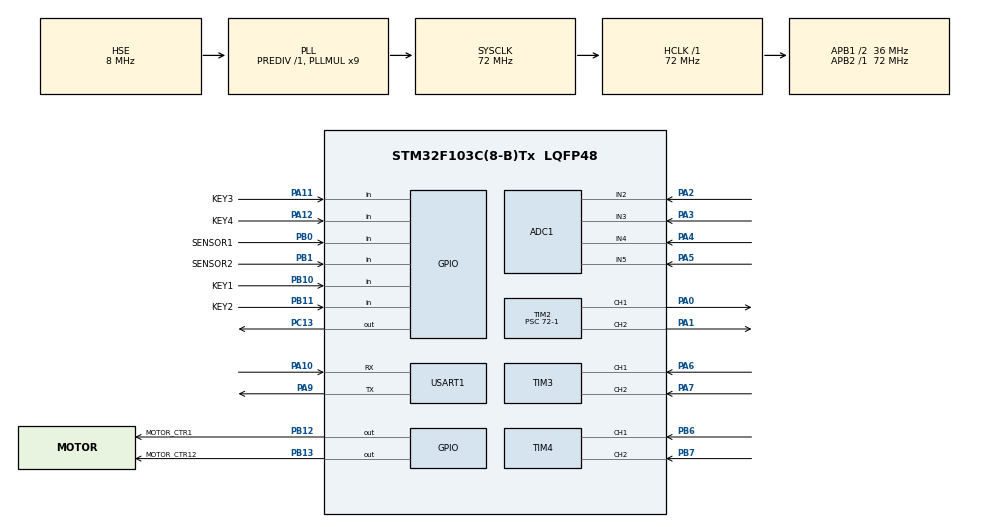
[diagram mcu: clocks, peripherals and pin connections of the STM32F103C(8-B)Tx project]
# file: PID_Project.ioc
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ADC1.Channel-0\#ChannelRegularConversion=ADC_CHANNEL_2
ADC1.Channel-1\#ChannelRegularConversion=ADC_CHANNEL_3
ADC1.Channel-2\#ChannelRegularConversion=ADC_CHANNEL_4
ADC1.Channel-3\#ChannelRegularConversion=ADC_CHANNEL_5
ADC1.ContinuousConvMode=DISABLE
ADC1.DiscontinuousConvMode=ENABLE
ADC1.NbrOfConversion=4
ADC1.NbrOfConversionFlag=1
ADC1.Rank-0\#ChannelRegularConversion=1
ADC1.Rank-1\#ChannelRegularConversion=2
ADC1.Rank-2\#ChannelRegularConversion=3
ADC1.Rank-3\#ChannelRegularConversion=4
ADC1.SamplingTime-0\#ChannelRegularConversion=ADC_SAMPLETIME_1CYCLE_5
ADC1.SamplingTime-1\#ChannelRegularConversion=ADC_SAMPLETIME_1CYCLE_5
ADC1.SamplingTime-2\#ChannelRegularConversion=ADC_SAMPLETIME_1CYCLE_5
ADC1.SamplingTime-3\#ChannelRegularConversion=ADC_SAMPLETIME_1CYCLE_5
ADC1.master=1
Mcu.Family=STM32F1
Mcu.Name=STM32F103C(8-B)Tx
Mcu.Package=LQFP48
NVIC.PriorityGroup=NVIC_PRIORITYGROUP_4
NVIC.TIM1_UP_IRQn=true\:0\:0\:false\:false\:true\:true\:true
NVIC.TIM2_IRQn=true\:0\:0\:false\:false\:true\:true\:true
PA0-WKUP.Signal=S_TIM2_CH1_ETR
PA1.Signal=S_TIM2_CH2
PA10.Mode=Asynchronous
PA10.Signal=USART1_RX
PA11.GPIO_Label=KEY3
PA11.GPIO_PuPd=GPIO_PULLUP
PA11.Signal=GPIO_Input
PA12.GPIO_Label=KEY4
PA12.GPIO_PuPd=GPIO_PULLUP
PA12.Signal=GPIO_Input
PA13.Mode=Serial_Wire
PA13.Signal=SYS_JTMS-SWDIO
PA14.Mode=Serial_Wire
PA14.Signal=SYS_JTCK-SWCLK
PA2.Signal=ADCx_IN2
PA3.Signal=ADCx_IN3
PA4.Signal=ADCx_IN4
PA5.Signal=ADCx_IN5
PA6.Signal=S_TIM3_CH1
PA7.Signal=S_TIM3_CH2
PA9.Mode=Asynchronous
PA9.Signal=USART1_TX
PB0.GPIO_Label=SENSOR1
PB0.GPIO_PuPd=GPIO_PULLUP
PB0.Signal=GPIO_Input
PB1.GPIO_Label=SENSOR2
PB1.GPIO_PuPd=GPIO_PULLUP
PB1.Signal=GPIO_Input
PB10.GPIO_Label=KEY1
PB10.GPIO_PuPd=GPIO_PULLUP
PB10.Signal=GPIO_Input
PB11.GPIO_Label=KEY2
PB11.GPIO_PuPd=GPIO_PULLUP
PB11.Signal=GPIO_Input
PB12.GPIO_Label=MOTOR_CTR1
PB12.GPIO_Speed=GPIO_SPEED_FREQ_HIGH
PB12.Signal=GPIO_Output
PB13.GPIO_Label=MOTOR_CTR12
PB13.GPIO_Speed=GPIO_SPEED_FREQ_HIGH
PB13.Signal=GPIO_Output
PB6.Signal=S_TIM4_CH1
PB7.Signal=S_TIM4_CH2
PC13-TAMPER-RTC.Signal=GPIO_Output
PC14-OSC32_IN.Mode=LSE-External-Oscillator
PC14-OSC32_IN.Signal=RCC_OSC32_IN
PC15-OSC32_OUT.Mode=LSE-External-Oscillator
PC15-OSC32_OUT.Signal=RCC_OSC32_OUT
PD0-OSC_IN.Mode=HSE-External-Oscillator
PD0-OSC_IN.Signal=RCC_OSC_IN
PD1-OSC_OUT.Mode=HSE-External-Oscillator
PD1-OSC_OUT.Signal=RCC_OSC_OUT
ProjectManager.HeapSize=0x200
ProjectManager.StackSize=0x400
ProjectManager.TargetToolchain=MDK-ARM V5.32
RCC.ADCPresc=RCC_ADCPCLK2_DIV6
RCC.AHBFreq_Value=72000000
RCC.APB1CLKDivider=RCC_HCLK_DIV2
RCC.APB1Freq_Value=36000000
RCC.APB1TimFreq_Value=72000000
RCC.APB2Freq_Value=72000000
RCC.APB2TimFreq_Value=72000000
RCC.HCLKFreq_Value=72000000
RCC.PLLMUL=RCC_PLL_MUL9
RCC.PLLSourceVirtual=RCC_PLLSOURCE_HSE
RCC.SYSCLKFreq_VALUE=72000000
RCC.SYSCLKSource=RCC_SYSCLKSOURCE_PLLCLK
RCC.USBFreq_Value=72000000
SH.ADCx_IN2.0=ADC1_IN2,IN2
SH.ADCx_IN3.0=ADC1_IN3,IN3
SH.ADCx_IN4.0=ADC1_IN4,IN4
SH.ADCx_IN5.0=ADC1_IN5,IN5
SH.S_TIM2_CH1_ETR.0=TIM2_CH1,PWM Generation1 CH1
SH.S_TIM2_CH2.0=TIM2_CH2,PWM Generation2 CH2
SH.S_TIM3_CH1.0=TIM3_CH1,Encoder_Interface
SH.S_TIM3_CH2.0=TIM3_CH2,Encoder_Interface
SH.S_TIM4_CH1.0=TIM4_CH1,Encoder_Interface
SH.S_TIM4_CH2.0=TIM4_CH2,Encoder_Interface
TIM2.Channel-PWM\ Generation1\ CH1=TIM_CHANNEL_1
TIM2.Channel-PWM\ Generation2\ CH2=TIM_CHANNEL_2
TIM2.Period=100-1
TIM2.Prescaler=72-1
USART1.VirtualMode=VM_ASYNC
VP_TIM1_VS_ClockSourceINT.Mode=Internal
VP_TIM2_VS_ClockSourceINT.Mode=Internal
board=custom

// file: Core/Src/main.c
/* USER CODE BEGIN Header */
/**
  ******************************************************************************
  * @file           : main.c
  * @brief          : Main program body
  ******************************************************************************
  * @attention
  *
  * Copyright (c) 2025 STMicroelectronics.
  * All rights reserved.
  *
  * This software is licensed under terms that can be found in the LICENSE file
  * in the root directory of this software component.
  * If no LICENSE file comes with this software, it is provided AS-IS.
  *
  ******************************************************************************
  */
/* USER CODE END Header */
#include "main.h"
#include "adc.h"
#include "tim.h"
#include "usart.h"
#include "gpio.h"

/* USER CODE BEGIN Includes */
#include "OLED.h"
#include "my_key.h"
#include "motor.h"
/* USER CODE END Includes */

/* USER CODE BEGIN PM */

/*定义PID相关变量*/

/* USER CODE END PM */

void SystemClock_Config(void);

/* USER CODE BEGIN 0 */
void my_oled_test(void)
{
	/*在(0, 0)位置显示字符'A'，字体大小为8*16点阵*/
	OLED_ShowChar(0, 0, 'A', OLED_8X16);
	/*在(16, 0)位置显示字符串"Hello World!"，字体大小为8*16点阵*/
	OLED_ShowString(16, 0, "Hello World!", OLED_8X16);
	/*在(0, 18)位置显示字符'A'，字体大小为6*8点阵*/
	OLED_ShowChar(0, 18, 'A', OLED_6X8);
	/*在(16, 18)位置显示字符串"Hello World!"，字体大小为6*8点阵*/
	OLED_ShowString(16, 18, "Hello World!", OLED_6X8);
	/*在(0, 28)位置显示数字12345，长度为5，字体大小为6*8点阵*/
	OLED_ShowNum(0, 28, 12345, 5, OLED_6X8);
	/*在(40, 28)位置显示有符号数字-66，长度为2，字体大小为6*8点阵*/
	OLED_ShowSignedNum(40, 28, -66, 2, OLED_6X8);
	/*在(70, 28)位置显示十六进制数字0xA5A5，长度为4，字体大小为6*8点阵*/
	OLED_ShowHexNum(70, 28, 0xA5A5, 4, OLED_6X8);
	/*在(0, 38)位置显示二进制数字0xA5，长度为8，字体大小为6*8点阵*/
	OLED_ShowBinNum(0, 38, 0xA5, 8, OLED_6X8);
	/*在(60, 38)位置显示浮点数字123.45，整数部分长度为3，小数部分长度为2，字体大小为6*8点阵*/
	OLED_ShowFloatNum(60, 38, 123.45, 3, 2, OLED_6X8);
	/*在(0, 48)位置显示英文和汉字串"Hello,世界。"，支持中英文混写*/
	OLED_ShowString(0, 48, "Hello,世界。", OLED_8X16);
	/*在(96, 48)位置显示图像，宽16像素，高16像素，图像数据为Diode数组*/
	OLED_ShowImage(96, 48, 16, 16, Diode);
	/*在(96, 18)位置打印格式化字符串，字体大小为6*8点阵，格式化字符串为"[%02d]"*/
	OLED_Printf(96, 18, OLED_6X8, "[%02d]", 6);
	/*调用OLED_Update函数，将OLED显存数组的内容更新到OLED硬件进行显示*/
	OLED_Update();
	/*延时3000ms，观察现象*/
	HAL_Delay(3000);
	/*清空OLED显存数组*/
	OLED_Clear();

	/*在(5, 8)位置画点*/
	OLED_DrawPoint(5, 8);
	/*获取(5, 8)位置的点*/
	if (OLED_GetPoint(5, 8))
	{
		/*如果指定点点亮，则在(10, 4)位置显示字符串"YES"，字体大小为6*8点阵*/
		OLED_ShowString(10, 4, "YES", OLED_6X8);
	}
	else
	{
		/*如果指定点未点亮，则在(10, 4)位置显示字符串"NO "，字体大小为6*8点阵*/
		OLED_ShowString(10, 4, "NO ", OLED_6X8);
	}

	/*在(40, 0)和(127, 15)位置之间画直线*/
	OLED_DrawLine(40, 0, 127, 15);
	/*在(40, 15)和(127, 0)位置之间画直线*/
	OLED_DrawLine(40, 15, 127, 0);
	/*在(0, 20)位置画矩形，宽12像素，高15像素，未填充*/
	OLED_DrawRectangle(0, 20, 12, 15, OLED_UNFILLED);
	/*在(0, 40)位置画矩形，宽12像素，高15像素，填充*/
	OLED_DrawRectangle(0, 40, 12, 15, OLED_FILLED);
	/*在(20, 20)、(40, 25)和(30, 35)位置之间画三角形，未填充*/
	OLED_DrawTriangle(20, 20, 40, 25, 30, 35, OLED_UNFILLED);
	/*在(20, 40)、(40, 45)和(30, 55)位置之间画三角形，填充*/
	OLED_DrawTriangle(20, 40, 40, 45, 30, 55, OLED_FILLED);
	/*在(55, 27)位置画圆，半径8像素，未填充*/
	OLED_DrawCircle(55, 27, 8, OLED_UNFILLED);
	/*在(55, 47)位置画圆，半径8像素，填充*/
	OLED_DrawCircle(55, 47, 8, OLED_FILLED);
	/*在(82, 27)位置画椭圆，横向半轴12像素，纵向半轴8像素，未填充*/
	OLED_DrawEllipse(82, 27, 12, 8, OLED_UNFILLED);
	/*在(82, 47)位置画椭圆，横向半轴12像素，纵向半轴8像素，填充*/
	OLED_DrawEllipse(82, 47, 12, 8, OLED_FILLED);
	/*在(110, 18)位置画圆弧，半径15像素，起始角度25度，终止角度125度，未填充*/
	OLED_DrawArc(110, 18, 15, 25, 125, OLED_UNFILLED);
	/*在(110, 38)位置画圆弧，半径15像素，起始角度25度，终止角度125度，填充*/
	OLED_DrawArc(110, 38, 15, 25, 125, OLED_FILLED);
	/*调用OLED_Update函数，将OLED显存数组的内容更新到OLED硬件进行显示*/
	OLED_Update();
	/*延时3000ms，观察现象*/
	HAL_Delay(1000);

	/*清空OLED显存数组*/
	OLED_Clear();
}

void motor_pwm_encoder_start(void)
{
	HAL_TIM_PWM_Start(&htim2, TIM_CHANNEL_1);					//启动 PWM TIM_CHANNEL_1 PWM信号输出
//	  HAL_TIM_PWM_Start(&htim2, TIM_CHANNEL_2);					//启动 PWM TIM_CHANNEL_2 PWM信号输出

	HAL_TIM_Encoder_Start(&htim3, TIM_CHANNEL_ALL);  			// 启动htim3编码器模式
//	HAL_TIM_Encoder_Start(&htim4, TIM_CHANNEL_ALL);  			// 启动htim4编码器模式
}
/* USER CODE END 0 */

int main(void)
{
  /* USER CODE BEGIN 1 */
	uint8_t KeyNum = 0;
  /* USER CODE END 1 */

  /* MCU Configuration--------------------------------------------------------*/

  /* Reset of all peripherals, Initializes the Flash interface and the Systick. */
  HAL_Init();

  /* Configure the system clock */
  SystemClock_Config();

  /* Initialize all configured peripherals */
  MX_GPIO_Init();
  MX_ADC1_Init();
  MX_TIM2_Init();
  MX_TIM3_Init();
  MX_TIM4_Init();
  MX_USART1_UART_Init();
  MX_TIM1_Init();
  /* USER CODE BEGIN 2 */
	HAL_ADCEx_Calibration_Start(&hadc1); // ADC 校准
	OLED_Init();
	motor_pwm_encoder_start();									//电机PWM和编码器检测初始化
	Motor_PID_Config();											//PID初始化
//	my_oled_test();
	HAL_TIM_Base_Start_IT(&htim1); 								// htim1 定时器更新中断
	/*OLED打印一个标题*/
	OLED_Printf(0, 0, OLED_8X16, "2*PID Control");
	OLED_Update();
  /* USER CODE END 2 */

  /* Infinite loop */
  /* USER CODE BEGIN WHILE */
  while (1)
  {
		/*按键修改目标值*/

		# if 1
		/*解除以下注释后，记得屏蔽电位器旋钮修改目标值的代码*/
		KeyNum = my_get_key_num();
		switch(KeyNum)
		{
			case 0:									//如果K1按下
				motorPID.PositionPID.PID_Target +=	408;			//目标值加10
				break;
			case 1:									//如果K2按下
				motorPID.PositionPID.PID_Target -=	408;			//目标值加10
				break;
			case 2:
				//如果K3按下
				motorPID.PositionPID.PID_Target = 0;			//目标值归0
				break;
			case 3:
				printf("key4 pressed!r\n");
				break;
			default:
				break;
		}

		#endif
		#if 1
//		0ead_All_ADC_Channels();							//电位器读取值
		/*
			OLED显示
			%4.2f
			%	格式化的起始符
			4	最小输出宽度为 4 个字符
			.2	小数点后保留 2 位
			f	显示为浮点数（fixed-point）
			%+04.0f
			%	开始格式化
			+	总是显示符号（+ 或 -）
			0	用 0 填充多余位（而不是空格）
			4	最小输出宽度为 4
			.0	小数点后保留 0 位，即只显示整数
			f	显示为浮点数
		*/

		OLED_Printf(0, 16, OLED_6X8, "Kp:%4.2f", motorPID.PositionPID.PID_Kp);			//显示Kp
		OLED_Printf(0, 24, OLED_6X8, "Ki:%4.2f", motorPID.PositionPID.PID_Ki);			//显示Ki
		OLED_Printf(0, 32, OLED_6X8, "Kd:%4.2f", motorPID.PositionPID.PID_Kd);			//显示Kd
		OLED_Printf(0, 40, OLED_6X8, "Tar:%+04.0f", motorPID.PositionPID.PID_Target);	//显示目标值
		OLED_Printf(0, 48, OLED_6X8, "Act:%+04.0f", motorPID.PositionPID.PID_Actual);	//显示实际值
		OLED_Printf(0, 56, OLED_6X8, "Out:%+04.0f", motorPID.PositionPID.PID_PwmOut);	//显示输出值

		OLED_Printf(64, 16, OLED_6X8, "Kp:%4.2f", motorPID.SpeedPID.PID_Kp);			//显示Kp
		OLED_Printf(64, 24, OLED_6X8, "Ki:%4.2f", motorPID.SpeedPID.PID_Ki);			//显示Ki
		OLED_Printf(64, 32, OLED_6X8, "Kd:%4.2f", motorPID.SpeedPID.PID_Kd);			//显示Kd
		OLED_Printf(64, 40, OLED_6X8, "Tar:%+04.0f", motorPID.SpeedPID.PID_Target);	//显示目标值
		OLED_Printf(64, 48, OLED_6X8, "Act:%+04.0f", motorPID.SpeedPID.PID_Actual);	//显示实际值
		OLED_Printf(64, 56, OLED_6X8, "Out:%+04.0f", motorPID.SpeedPID.PID_PwmOut);	//显示输出值

		OLED_Update();	//OLED更新，调用显示函数后必须调用此函数更新，否则显示的内容不会更新到OLED上

		/*
			//串口打印目标值、实际值和输出值
			//配合SerialPlot绘图软件，可以显示数据的波形
		*/
		printf("%f,%f,%f\r\n", motorPID.PositionPID.PID_Target, motorPID.PositionPID.PID_Actual, motorPID.PositionPID.PID_PwmOut);		//串口打印目标值、实际值和输出值
		#endif

//		my_key_test_func();								//按键OLED显示
    /* USER CODE END WHILE */

  }
}

void SystemClock_Config(void)
{
  RCC_OscInitTypeDef RCC_OscInitStruct = {0};
  RCC_ClkInitTypeDef RCC_ClkInitStruct = {0};
  RCC_PeriphCLKInitTypeDef PeriphClkInit = {0};

  /** Initializes the RCC Oscillators according to the specified parameters
  * in the RCC_OscInitTypeDef structure.
  */
  RCC_OscInitStruct.OscillatorType = RCC_OSCILLATORTYPE_HSE;
  RCC_OscInitStruct.HSEState = RCC_HSE_ON;
  RCC_OscInitStruct.HSEPredivValue = RCC_HSE_PREDIV_DIV1;
  RCC_OscInitStruct.HSIState = RCC_HSI_ON;
  RCC_OscInitStruct.PLL.PLLState = RCC_PLL_ON;
  RCC_OscInitStruct.PLL.PLLSource = RCC_PLLSOURCE_HSE;
  RCC_OscInitStruct.PLL.PLLMUL = RCC_PLL_MUL9;
  if (HAL_RCC_OscConfig(&RCC_OscInitStruct) != HAL_OK)
  {
    Error_Handler();
  }
  /** Initializes the CPU, AHB and APB buses clocks
  */
  RCC_ClkInitStruct.ClockType = RCC_CLOCKTYPE_HCLK|RCC_CLOCKTYPE_SYSCLK
                              |RCC_CLOCKTYPE_PCLK1|RCC_CLOCKTYPE_PCLK2;
  RCC_ClkInitStruct.SYSCLKSource = RCC_SYSCLKSOURCE_PLLCLK;
  RCC_ClkInitStruct.AHBCLKDivider = RCC_SYSCLK_DIV1;
  RCC_ClkInitStruct.APB1CLKDivider = RCC_HCLK_DIV2;
  RCC_ClkInitStruct.APB2CLKDivider = RCC_HCLK_DIV1;

  if (HAL_RCC_ClockConfig(&RCC_ClkInitStruct, FLASH_LATENCY_2) != HAL_OK)
  {
    Error_Handler();
  }
  PeriphClkInit.PeriphClockSelection = RCC_PERIPHCLK_ADC;
  PeriphClkInit.AdcClockSelection = RCC_ADCPCLK2_DIV6;
  if (HAL_RCCEx_PeriphCLKConfig(&PeriphClkInit) != HAL_OK)
  {
    Error_Handler();
  }
}

void Error_Handler(void)
{
  __disable_irq();
  while (1)
  {
  }
}
